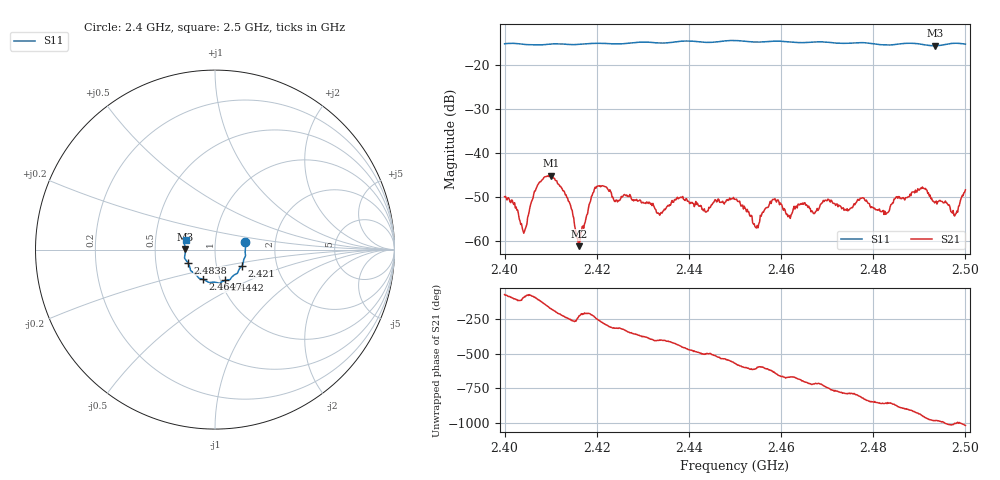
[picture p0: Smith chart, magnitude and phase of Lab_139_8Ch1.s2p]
# Hz S RI R 50
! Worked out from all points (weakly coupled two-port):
!   601 points, 2.4 GHz to 2.5 GHz, reference 50 ohm
!   highest |S21| = -45.12 dB at 2.41 GHz (marker M1); lowest = -61.1 dB at 2.4162 GHz (marker M2)
!   lowest |S11| = -15.7 dB at 2.4935 GHz (marker M3), VSWR 1.39, Z = 35.9 + j0.192 ohm
!   |S11| at or under -10 dB: start of sweep to end of sweep
!   S12 and S22 are empty: the file has one direction only
!   S11 on the Smith chart (normalised r, x): 2.4 GHz: 1.40, +0.12; 2.421 GHz: 1.33, -0.24; 2.4442 GHz: 1.05, -0.37; 2.4647 GHz: 0.83, -0.28; 2.4838 GHz: 0.73, -0.11; 2.5 GHz: 0.71, +0.08
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2.4e9  0.169 0.0402  0.000965 -0.00306  0 0  0 0
2.404333e9  0.1701 0.0158  8.21e-05 -0.00131  0 0  0 0
2.407e9  0.1684 -0.0102  -0.000908 -0.00403  0 0  0 0
2.41e9  0.1701 -0.0289  -0.00551 -0.000625  0 0  0 0
2.413833e9  0.1636 -0.0483  -0.00117 0.0026  0 0  0 0
2.416167e9  0.1588 -0.0644  -0.00062 0.000627  0 0  0 0
2.416667e9  0.158 -0.0683  -0.0011 0.000657  0 0  0 0
2.421e9  0.1515 -0.0889  0.000147 0.00423  0 0  0 0
2.433333e9  0.1088 -0.14  0.00152 -0.00145  0 0  0 0
2.438167e9  0.0865 -0.1638  0.00028 -0.00315  0 0  0 0
2.444167e9  0.057 -0.1706  -0.00174 -0.00138  0 0  0 0
2.45e9  0.0243 -0.1876  -0.00258 0.00153  0 0  0 0
2.4545e9  -0.00297 -0.1817  -0.0005 0.00135  0 0  0 0
2.458167e9  -0.028 -0.1836  -0.00016 0.00298  0 0  0 0
2.464667e9  -0.067 -0.166  0.00248 0.0011  0 0  0 0
2.466667e9  -0.0813 -0.1619  0.00222 -0.00014  0 0  0 0
2.483333e9  -0.1495 -0.0765  -0.00163 -0.00142  0 0  0 0
2.483833e9  -0.1523 -0.0719  -0.00196 -0.00171  0 0  0 0
2.490833e9  -0.1674 -0.0295  -0.00231 0.00327  0 0  0 0
2.4935e9  -0.1648 0.0026  -0.000294 0.00276  0 0  0 0
2.497833e9  -0.1717 0.0388  0.000536 0.00196  0 0  0 0
2.5e9  -0.1642 0.0521  0.00189 0.00334  0 0  0 0
